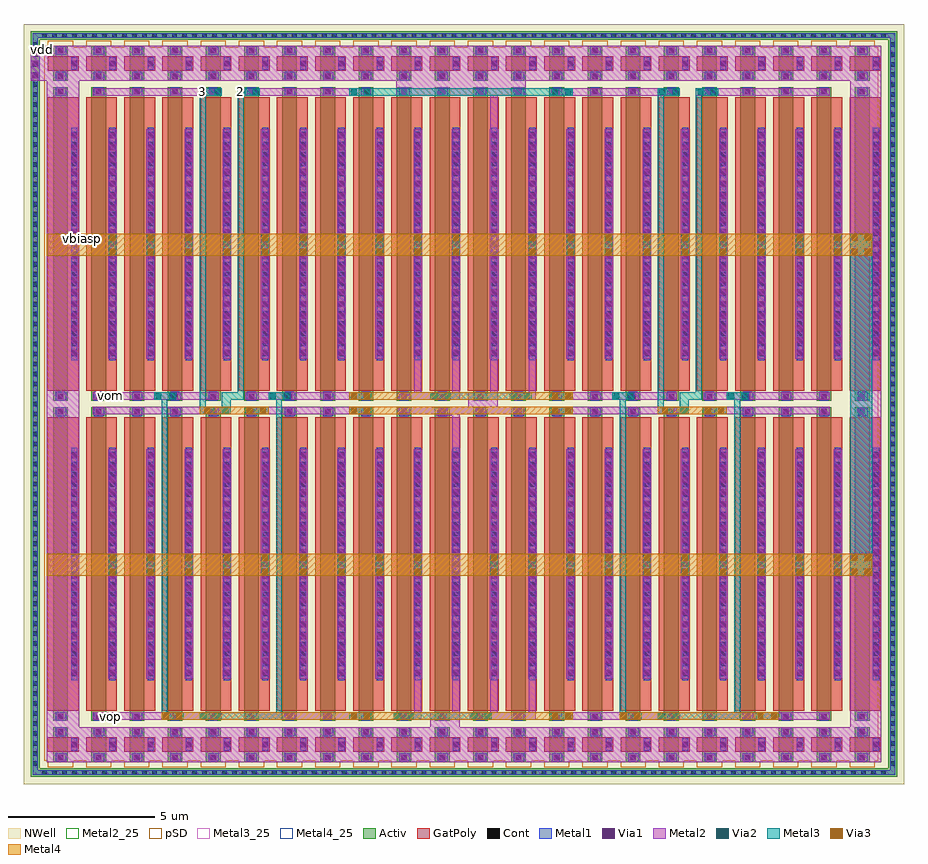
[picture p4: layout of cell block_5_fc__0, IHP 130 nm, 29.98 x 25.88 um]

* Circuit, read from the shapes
.subckt block_5_fc__0 2 3 vbiasp vdd vom vop
XM1 vdd vdd vdd vdd sg13_lv_pmos w=0.5u l=0.5u m=44
XM2 vdd vdd vdd vdd sg13_lv_pmos w=0.5u l=10u m=6
XM3 2 vbiasp vop vdd sg13_lv_pmos w=0.5u l=10u m=16
XM4 3 vbiasp vom vdd sg13_lv_pmos w=0.5u l=10u m=16
XM5 vdd vbiasp vbiasp vdd sg13_lv_pmos w=0.5u l=10u m=6
.ends

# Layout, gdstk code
from math import pi, radians
import gdstk
lib = gdstk.Library(unit=1e-6, precision=1e-09)
def R(c, l, rs):  # rectangles x0, y0, x1, y1
    for r in rs: c.add(gdstk.rectangle(r[:2], r[2:], *l))
def A(c, l, x, y, w, h, nx, ny, dx, dy):  # array of equal rectangles
    R(c, l, [(x+i*dx, y+j*dy, x+i*dx+w, y+j*dy+h) for i in range(nx) for j in range(ny)])
Activ = (1, 0)
GatPoly = (5, 0)
Cont = (6, 0)
Metal1 = (8, 0)
Metal2 = (10, 0)
Metal2_25 = (10, 25)
pSD = (14, 0)
Via1 = (19, 0)
Via2 = (29, 0)
Metal3 = (30, 0)
Metal3_25 = (30, 25)
NWell = (31, 0)
Via3 = (49, 0)
Metal4 = (50, 0)
Metal4_25 = (50, 25)

sg13_lv_pmos_7da2r2__0 = lib.new_cell('sg13_lv_pmos_7DA2R2__0')
R(sg13_lv_pmos_7da2r2__0, Activ, [(-0.59,-0.345,0.59,0.155)])
R(sg13_lv_pmos_7da2r2__0, GatPoly, [(-0.25,-0.525,0.25,0.525)])
R(sg13_lv_pmos_7da2r2__0, Cont, [(-0.52,-0.175,-0.36,-0.015), (0.36,-0.175,0.52,-0.015), (-0.08,0.295,0.08,0.455)])
R(sg13_lv_pmos_7da2r2__0, Metal1, [(-0.59,-0.24,-0.29,0.05), (0.29,-0.24,0.59,0.05), (-0.215,0.27,0.215,0.48)])
R(sg13_lv_pmos_7da2r2__0, Metal2, [(-0.54,-0.28,-0.34,0.09), (0.34,-0.28,0.54,0.09), (-0.11,0.23,0.11,0.52)])
R(sg13_lv_pmos_7da2r2__0, pSD, [(-0.55,-0.645,0.55,-0.525), (-0.77,-0.525,0.77,0.335), (-0.55,0.335,0.55,0.455)])
R(sg13_lv_pmos_7da2r2__0, Via1, [(-0.535,-0.19,-0.345,0), (0.345,-0.19,0.535,0), (-0.095,0.28,0.095,0.47)])
R(sg13_lv_pmos_7da2r2__0, NWell, [(-0.9,-0.655,0.9,0.465)])
sg13_lv_pmos_7da2r2__0.add(gdstk.Label('D', (-0.44,-0.095), layer=8, texttype=25))
sg13_lv_pmos_7da2r2__0.add(gdstk.Label('S', (0.44,-0.095), layer=8, texttype=25))
sg13_lv_pmos_7da2r2__0.add(gdstk.Label('G', (0,0.375), layer=8, texttype=25))

sg13_lv_pmos_sthyk8__0 = lib.new_cell('sg13_lv_pmos_STHYK8__0')
R(sg13_lv_pmos_sthyk8__0, Activ, [(-5.34,-0.345,5.34,0.155)])
R(sg13_lv_pmos_sthyk8__0, GatPoly, [(-5,-0.525,5,0.525)])
A(sg13_lv_pmos_sthyk8__0, Cont, -3.82, 0.295, 0.16, 0.16, 23, 1, 0.34, 0)
R(sg13_lv_pmos_sthyk8__0, Cont, [(-5.27,-0.175,-5.11,-0.015), (5.11,-0.175,5.27,-0.015)])
R(sg13_lv_pmos_sthyk8__0, Metal1, [(-5.34,-0.24,-5.04,0.05), (5.04,-0.24,5.34,0.05), (-3.96,0.27,3.96,0.48)])
R(sg13_lv_pmos_sthyk8__0, Metal2, [(-5.29,-0.28,-5.09,0.09), (5.09,-0.28,5.29,0.09), (-3.91,0.23,3.91,0.52)])
R(sg13_lv_pmos_sthyk8__0, pSD, [(-5.3,-0.645,5.3,-0.525), (-5.52,-0.525,5.52,0.335), (-5.3,0.335,5.3,0.455)])
A(sg13_lv_pmos_sthyk8__0, Via1, -3.785, 0.28, 0.19, 0.19, 19, 1, 0.41, 0)
R(sg13_lv_pmos_sthyk8__0, Via1, [(-5.285,-0.19,-5.095,0), (5.095,-0.19,5.285,0)])
R(sg13_lv_pmos_sthyk8__0, NWell, [(-5.65,-0.655,5.65,0.465)])
sg13_lv_pmos_sthyk8__0.add(gdstk.Label('D', (-5.19,-0.095), layer=8, texttype=25))
sg13_lv_pmos_sthyk8__0.add(gdstk.Label('S', (5.19,-0.095), layer=8, texttype=25))
sg13_lv_pmos_sthyk8__0.add(gdstk.Label('G', (0,0.375), layer=8, texttype=25))

block_5_fc__0 = lib.new_cell('block_5_fc__0')
R(block_5_fc__0, Activ, [(-0.7,-1.3,28.8,-1), (-0.7,-1,-0.4,23.8), (28.5,-1,28.8,23.8), (-0.7,23.8,28.8,24.1)])
A(block_5_fc__0, Cont, -0.31, -1.23, 0.16, 0.16, 85, 2, 0.34, 25.1)
A(block_5_fc__0, Cont, -0.63, -0.92, 0.16, 0.16, 1, 73, 0, 0.34)
A(block_5_fc__0, Cont, 28.57, -0.92, 0.16, 0.16, 1, 73, 0, 0.34)
A(block_5_fc__0, Metal1, 0.15, -0.75, 0.35, 0.25, 22, 2, 1.3, 0.85)
A(block_5_fc__0, Metal1, 0.15, 0.65, 0.35, 0.25, 7, 1, 1.3, 0)
A(block_5_fc__0, Metal1, 14.45, 0.65, 0.35, 0.25, 11, 1, 1.3, 0)
A(block_5_fc__0, Metal1, 0.15, 11, 0.35, 0.25, 22, 2, 1.3, 10.9)
A(block_5_fc__0, Metal1, 0.15, 11.55, 0.35, 0.25, 11, 1, 1.3, 0)
A(block_5_fc__0, Metal1, 15.75, 11.55, 0.35, 0.25, 10, 1, 1.3, 0)
A(block_5_fc__0, Metal1, 0.15, 22.45, 0.35, 0.25, 22, 2, 1.3, 0.85)
R(block_5_fc__0, Metal1, [(-0.63,-1.23,28.73,-1.07), (-0.63,-1.07,-0.47,22.4), (28.57,-1.07,28.73,23.87), (9.25,0.65,9.55,0.9), (10.55,0.65,10.9,0.9), (11.85,0.65,12.2,0.9), (13.15,0.65,13.45,0.9), (14.4,11.55,14.8,11.8), (-0.7,22.4,-0.4,23.6), (-0.63,23.6,-0.47,23.87), (-0.63,23.87,28.73,24.03)])
A(block_5_fc__0, Metal2, 12.35, 0.9, 0.25, 1.2, 4, 2, 1.3, 10.9)
A(block_5_fc__0, Metal2, 1.95, 5.55, 0.25, 0.75, 9, 1, 1.3, 0)
A(block_5_fc__0, Metal2, 14.95, 5.55, 0.25, 0.75, 10, 1, 1.3, 0)
A(block_5_fc__0, Metal2, 1.95, 16.45, 0.25, 0.75, 10, 1, 1.3, 0)
A(block_5_fc__0, Metal2, 16.25, 16.45, 0.25, 0.75, 9, 1, 1.3, 0)
R(block_5_fc__0, Metal2, [(-0.15,-0.8,28.25,0.4), (-0.15,0.4,0.95,22.4), (12.9,0.4,13.9,0.9), (27.2,0.4,28.25,22.4), (1.4,0.65,5.8,0.9), (6.6,0.65,10.9,0.9), (11.65,0.65,12.6,0.9), (14.25,0.65,16.5,0.9), (17,0.65,21.4,0.9), (22.2,0.65,26.5,0.9), (13.65,9.85,13.9,11), (13.1,11,13.9,11.05), (1.4,11.05,6.1,11.3), (6.6,11.05,10.9,11.3), (11.8,11.05,16.1,11.3), (17,11.05,21.7,11.3), (22.2,11.05,26.5,11.3), (14.2,11.3,15.2,11.8), (1.4,11.55,5.7,11.8), (6.6,11.55,10.9,11.8), (11.8,11.55,13.9,11.8), (15.6,11.55,16.5,11.8), (17,11.55,21.3,11.8), (22.2,11.55,26.5,11.8), (14.95,20.7,15.2,21.9), (1.4,21.9,5.8,22.15), (6.35,21.9,10.9,22.15), (11.75,21.9,16.15,22.4), (17,21.9,21.4,22.15), (21.95,21.9,26.5,22.15), (-0.7,22.4,28.25,23.6)])
R(block_5_fc__0, Metal2_25, [(1.9,0.65,2.15,0.9), (1.9,11.55,2.15,11.8), (-0.4,23.35,-0.2,23.6)])
A(block_5_fc__0, pSD, 0.86, -0.75, 0.2, 1.1, 21, 2, 1.3, 23.2)
A(block_5_fc__0, pSD, -0.24, 0.35, 0.12, 0.3, 1, 3, 0, 10.9)
A(block_5_fc__0, pSD, 0.74, 0.35, 0.44, 0.3, 21, 3, 1.3, 10.9)
A(block_5_fc__0, pSD, 28.04, 0.35, 0.12, 0.3, 1, 3, 0, 10.9)
A(block_5_fc__0, pSD, 0.86, 0.65, 0.2, 10.6, 21, 2, 1.3, 10.9)
A(block_5_fc__0, Via1, -0.645, 22.495, 0.19, 0.19, 1, 3, 0, 0.41)
A(block_5_fc__0, Via2, 1.98, 5.605, 0.19, 0.19, 9, 2, 1.3, 0.45)
A(block_5_fc__0, Via2, 14.98, 5.605, 0.19, 0.19, 10, 2, 1.3, 0.45)
A(block_5_fc__0, Via2, 1.98, 16.505, 0.19, 0.19, 10, 2, 1.3, 0.45)
A(block_5_fc__0, Via2, 16.28, 16.505, 0.19, 0.19, 9, 2, 1.3, 0.45)
R(block_5_fc__0, Via2, [(5.105,0.68,5.295,0.87), (5.555,0.68,5.745,0.87), (10.205,0.68,10.395,0.87), (10.655,0.68,10.845,0.87), (11.705,0.68,11.895,0.87), (12.155,0.68,12.345,0.87), (14.305,0.68,14.495,0.87), (14.755,0.68,14.945,0.87), (17.055,0.68,17.245,0.87), (17.505,0.68,17.695,0.87), (20.705,0.68,20.895,0.87), (21.155,0.68,21.345,0.87), (24.055,0.68,24.245,0.87), (24.505,0.68,24.695,0.87), (5.855,11.08,6.045,11.27), (6.655,11.08,6.845,11.27), (7.105,11.08,7.295,11.27), (10.205,11.08,10.395,11.27), (10.655,11.08,10.845,11.27), (17.055,11.08,17.245,11.27), (17.505,11.08,17.695,11.27), (21.455,11.08,21.645,11.27), (22.255,11.08,22.445,11.27), (22.705,11.08,22.895,11.27), (3.555,11.58,3.745,11.77), (4.005,11.58,4.195,11.77), (7.455,11.58,7.645,11.77), (7.905,11.58,8.095,11.77), (10.205,11.58,10.395,11.77), (10.655,11.58,10.845,11.77), (12.955,11.58,13.145,11.77), (13.405,11.58,13.595,11.77), (15.655,11.58,15.845,11.77), (16.105,11.58,16.295,11.77), (17.055,11.58,17.245,11.77), (17.505,11.58,17.695,11.77), (19.155,11.58,19.345,11.77), (19.605,11.58,19.795,11.77), (23.055,11.58,23.245,11.77), (23.505,11.58,23.695,11.77), (5.105,21.93,5.295,22.12), (5.555,21.93,5.745,22.12), (6.405,21.93,6.595,22.12), (6.855,21.93,7.045,22.12), (10.205,21.93,10.395,22.12), (10.655,21.93,10.845,22.12), (17.055,21.93,17.245,22.12), (17.505,21.93,17.695,22.12), (20.705,21.93,20.895,22.12), (21.155,21.93,21.345,22.12), (22.005,21.93,22.195,22.12), (22.455,21.93,22.645,22.12)])
A(block_5_fc__0, Metal3, 1.95, 5.55, 0.25, 0.75, 9, 1, 1.3, 0)
A(block_5_fc__0, Metal3, 14.95, 5.55, 0.25, 0.75, 10, 1, 1.3, 0)
A(block_5_fc__0, Metal3, 1.95, 16.45, 0.25, 0.75, 10, 1, 1.3, 0)
A(block_5_fc__0, Metal3, 16.25, 16.45, 0.25, 0.75, 9, 1, 1.3, 0)
R(block_5_fc__0, Metal3, [(3.75,0.65,4.5,0.9), (5.05,0.65,7.85,0.9), (10.15,0.65,10.9,0.9), (11.65,0.65,15,0.9), (17,0.65,17.75,0.9), (19.35,0.65,20.1,0.9), (20.65,0.65,23.45,0.9), (24,0.65,24.75,0.9), (3.75,0.9,3.95,11.55), (7.65,0.9,7.85,11.55), (19.35,0.9,19.55,11.55), (23.25,0.9,23.45,11.55), (27.2,5.55,27.95,17.2), (5.05,11.05,5.55,11.3), (5.8,11.05,6.1,11.55), (6.6,11.05,7.4,11.3), (10.15,11.05,10.9,11.3), (17,11.05,17.75,11.3), (20.65,11.05,21.15,11.3), (21.4,11.05,21.7,11.55), (22.2,11.05,23,11.3), (5.05,11.3,5.25,21.9), (20.65,11.3,20.85,21.9), (3.5,11.55,4.25,11.8), (5.8,11.55,6.55,11.8), (7.4,11.55,8.15,11.8), (10.15,11.55,10.9,11.8), (12.9,11.55,16.35,11.8), (17,11.55,17.75,11.8), (19.1,11.55,19.85,11.8), (21.4,11.55,22.15,11.8), (23,11.55,23.75,11.8), (6.35,11.8,6.55,21.9), (21.95,11.8,22.15,21.9), (5.05,21.9,5.8,22.15), (6.35,21.9,7.1,22.15), (10.15,21.9,17.75,22.15), (20.65,21.9,21.4,22.15), (21.95,21.9,22.7,22.15)])
R(block_5_fc__0, Metal3_25, [(5.05,21.9,5.25,22.15), (6.35,21.9,6.55,22.15)])
R(block_5_fc__0, NWell, [(-0.94,-1.54,29.04,24.34)])
A(block_5_fc__0, Via3, 1.98, 5.605, 0.19, 0.19, 9, 2, 1.3, 0.45)
A(block_5_fc__0, Via3, 14.98, 5.605, 0.19, 0.19, 10, 2, 1.3, 0.45)
A(block_5_fc__0, Via3, 1.98, 16.505, 0.19, 0.19, 10, 2, 1.3, 0.45)
A(block_5_fc__0, Via3, 16.28, 16.505, 0.19, 0.19, 9, 2, 1.3, 0.45)
R(block_5_fc__0, Via3, [(3.805,0.68,3.995,0.87), (4.255,0.68,4.445,0.87), (10.205,0.68,10.395,0.87), (10.655,0.68,10.845,0.87), (17.055,0.68,17.245,0.87), (17.505,0.68,17.695,0.87), (19.405,0.68,19.595,0.87), (19.855,0.68,20.045,0.87), (24.055,0.68,24.245,0.87), (24.505,0.68,24.695,0.87), (27.255,5.605,27.445,5.795), (27.705,5.605,27.895,5.795), (27.255,6.055,27.445,6.245), (27.705,6.055,27.895,6.245), (5.205,11.08,5.395,11.27), (6.655,11.08,6.845,11.27), (7.105,11.08,7.295,11.27), (10.205,11.08,10.395,11.27), (10.655,11.08,10.845,11.27), (17.055,11.08,17.245,11.27), (17.505,11.08,17.695,11.27), (20.805,11.08,20.995,11.27), (22.255,11.08,22.445,11.27), (22.705,11.08,22.895,11.27), (10.205,11.58,10.395,11.77), (10.655,11.58,10.845,11.77), (17.055,11.58,17.245,11.77), (17.505,11.58,17.695,11.77), (27.255,16.505,27.445,16.695), (27.705,16.505,27.895,16.695), (27.255,16.955,27.445,17.145), (27.705,16.955,27.895,17.145)])
R(block_5_fc__0, Metal4, [(3.75,0.65,17.75,0.9), (19.35,0.65,24.75,0.9), (-0.15,5.55,27.95,6.3), (5.05,11.05,7.4,11.3), (10.15,11.05,17.75,11.3), (20.65,11.05,23,11.3), (10.15,11.55,17.75,11.8), (-0.15,16.45,27.95,17.2)])
R(block_5_fc__0, Metal4_25, [(0.95,16.9,1.15,17.2)])
block_5_fc__0.add(gdstk.Reference(sg13_lv_pmos_7da2r2__0, (0.405,-0.2), rotation=3*pi/2))
block_5_fc__0.add(gdstk.Reference(sg13_lv_pmos_sthyk8__0, (0.405,5.95), rotation=3*pi/2))
block_5_fc__0.add(gdstk.Reference(sg13_lv_pmos_7da2r2__0, (1.705,-0.2), rotation=3*pi/2))
block_5_fc__0.add(gdstk.Reference(sg13_lv_pmos_sthyk8__0, (1.705,5.95), rotation=3*pi/2))
block_5_fc__0.add(gdstk.Reference(sg13_lv_pmos_7da2r2__0, (3.005,-0.2), rotation=3*pi/2))
block_5_fc__0.add(gdstk.Reference(sg13_lv_pmos_sthyk8__0, (3.005,5.95), rotation=3*pi/2))
block_5_fc__0.add(gdstk.Reference(sg13_lv_pmos_7da2r2__0, (4.305,-0.2), rotation=3*pi/2))
block_5_fc__0.add(gdstk.Reference(sg13_lv_pmos_sthyk8__0, (4.305,5.95), rotation=3*pi/2))
block_5_fc__0.add(gdstk.Reference(sg13_lv_pmos_7da2r2__0, (5.605,-0.2), rotation=3*pi/2))
block_5_fc__0.add(gdstk.Reference(sg13_lv_pmos_sthyk8__0, (5.605,5.95), rotation=3*pi/2))
block_5_fc__0.add(gdstk.Reference(sg13_lv_pmos_7da2r2__0, (6.905,-0.2), rotation=3*pi/2))
block_5_fc__0.add(gdstk.Reference(sg13_lv_pmos_sthyk8__0, (6.905,5.95), rotation=3*pi/2))
block_5_fc__0.add(gdstk.Reference(sg13_lv_pmos_7da2r2__0, (8.205,-0.2), rotation=3*pi/2))
block_5_fc__0.add(gdstk.Reference(sg13_lv_pmos_sthyk8__0, (8.205,5.95), rotation=3*pi/2))
block_5_fc__0.add(gdstk.Reference(sg13_lv_pmos_7da2r2__0, (9.505,-0.2), rotation=3*pi/2))
block_5_fc__0.add(gdstk.Reference(sg13_lv_pmos_sthyk8__0, (9.505,5.95), rotation=3*pi/2))
block_5_fc__0.add(gdstk.Reference(sg13_lv_pmos_7da2r2__0, (10.805,-0.2), rotation=3*pi/2))
block_5_fc__0.add(gdstk.Reference(sg13_lv_pmos_sthyk8__0, (10.805,5.95), rotation=3*pi/2))
block_5_fc__0.add(gdstk.Reference(sg13_lv_pmos_7da2r2__0, (12.105,-0.2), rotation=3*pi/2))
block_5_fc__0.add(gdstk.Reference(sg13_lv_pmos_sthyk8__0, (12.105,5.95), rotation=3*pi/2))
block_5_fc__0.add(gdstk.Reference(sg13_lv_pmos_7da2r2__0, (13.405,-0.2), rotation=3*pi/2))
block_5_fc__0.add(gdstk.Reference(sg13_lv_pmos_sthyk8__0, (13.405,5.95), rotation=3*pi/2))
block_5_fc__0.add(gdstk.Reference(sg13_lv_pmos_7da2r2__0, (14.705,-0.2), rotation=3*pi/2))
block_5_fc__0.add(gdstk.Reference(sg13_lv_pmos_sthyk8__0, (14.705,5.95), rotation=3*pi/2))
block_5_fc__0.add(gdstk.Reference(sg13_lv_pmos_7da2r2__0, (16.005,-0.2), rotation=3*pi/2))
block_5_fc__0.add(gdstk.Reference(sg13_lv_pmos_sthyk8__0, (16.005,5.95), rotation=3*pi/2))
block_5_fc__0.add(gdstk.Reference(sg13_lv_pmos_7da2r2__0, (17.305,-0.2), rotation=3*pi/2))
block_5_fc__0.add(gdstk.Reference(sg13_lv_pmos_sthyk8__0, (17.305,5.95), rotation=3*pi/2))
block_5_fc__0.add(gdstk.Reference(sg13_lv_pmos_7da2r2__0, (18.605,-0.2), rotation=3*pi/2))
block_5_fc__0.add(gdstk.Reference(sg13_lv_pmos_sthyk8__0, (18.605,5.95), rotation=3*pi/2))
block_5_fc__0.add(gdstk.Reference(sg13_lv_pmos_7da2r2__0, (19.905,-0.2), rotation=3*pi/2))
block_5_fc__0.add(gdstk.Reference(sg13_lv_pmos_sthyk8__0, (19.905,5.95), rotation=3*pi/2))
block_5_fc__0.add(gdstk.Reference(sg13_lv_pmos_7da2r2__0, (21.205,-0.2), rotation=3*pi/2))
block_5_fc__0.add(gdstk.Reference(sg13_lv_pmos_sthyk8__0, (21.205,5.95), rotation=3*pi/2))
block_5_fc__0.add(gdstk.Reference(sg13_lv_pmos_7da2r2__0, (22.505,-0.2), rotation=3*pi/2))
block_5_fc__0.add(gdstk.Reference(sg13_lv_pmos_sthyk8__0, (22.505,5.95), rotation=3*pi/2))
block_5_fc__0.add(gdstk.Reference(sg13_lv_pmos_7da2r2__0, (23.805,-0.2), rotation=3*pi/2))
block_5_fc__0.add(gdstk.Reference(sg13_lv_pmos_sthyk8__0, (23.805,5.95), rotation=3*pi/2))
block_5_fc__0.add(gdstk.Reference(sg13_lv_pmos_7da2r2__0, (25.105,-0.2), rotation=3*pi/2))
block_5_fc__0.add(gdstk.Reference(sg13_lv_pmos_sthyk8__0, (25.105,5.95), rotation=3*pi/2))
block_5_fc__0.add(gdstk.Reference(sg13_lv_pmos_7da2r2__0, (26.405,-0.2), rotation=3*pi/2))
block_5_fc__0.add(gdstk.Reference(sg13_lv_pmos_sthyk8__0, (26.405,5.95), rotation=3*pi/2))
block_5_fc__0.add(gdstk.Reference(sg13_lv_pmos_7da2r2__0, (27.705,-0.2), rotation=3*pi/2))
block_5_fc__0.add(gdstk.Reference(sg13_lv_pmos_sthyk8__0, (27.705,5.95), rotation=3*pi/2))
block_5_fc__0.add(gdstk.Reference(sg13_lv_pmos_sthyk8__0, (0.405,16.85), rotation=3*pi/2))
block_5_fc__0.add(gdstk.Reference(sg13_lv_pmos_sthyk8__0, (1.705,16.85), rotation=3*pi/2))
block_5_fc__0.add(gdstk.Reference(sg13_lv_pmos_sthyk8__0, (3.005,16.85), rotation=3*pi/2))
block_5_fc__0.add(gdstk.Reference(sg13_lv_pmos_sthyk8__0, (4.305,16.85), rotation=3*pi/2))
block_5_fc__0.add(gdstk.Reference(sg13_lv_pmos_sthyk8__0, (5.605,16.85), rotation=3*pi/2))
block_5_fc__0.add(gdstk.Reference(sg13_lv_pmos_sthyk8__0, (6.905,16.85), rotation=3*pi/2))
block_5_fc__0.add(gdstk.Reference(sg13_lv_pmos_sthyk8__0, (8.205,16.85), rotation=3*pi/2))
block_5_fc__0.add(gdstk.Reference(sg13_lv_pmos_sthyk8__0, (9.505,16.85), rotation=3*pi/2))
block_5_fc__0.add(gdstk.Reference(sg13_lv_pmos_sthyk8__0, (10.805,16.85), rotation=3*pi/2))
block_5_fc__0.add(gdstk.Reference(sg13_lv_pmos_sthyk8__0, (12.105,16.85), rotation=3*pi/2))
block_5_fc__0.add(gdstk.Reference(sg13_lv_pmos_sthyk8__0, (13.405,16.85), rotation=3*pi/2))
block_5_fc__0.add(gdstk.Reference(sg13_lv_pmos_sthyk8__0, (14.705,16.85), rotation=3*pi/2))
block_5_fc__0.add(gdstk.Reference(sg13_lv_pmos_sthyk8__0, (16.005,16.85), rotation=3*pi/2))
block_5_fc__0.add(gdstk.Reference(sg13_lv_pmos_sthyk8__0, (17.305,16.85), rotation=3*pi/2))
block_5_fc__0.add(gdstk.Reference(sg13_lv_pmos_sthyk8__0, (18.605,16.85), rotation=3*pi/2))
block_5_fc__0.add(gdstk.Reference(sg13_lv_pmos_sthyk8__0, (19.905,16.85), rotation=3*pi/2))
block_5_fc__0.add(gdstk.Reference(sg13_lv_pmos_sthyk8__0, (21.205,16.85), rotation=3*pi/2))
block_5_fc__0.add(gdstk.Reference(sg13_lv_pmos_sthyk8__0, (22.505,16.85), rotation=3*pi/2))
block_5_fc__0.add(gdstk.Reference(sg13_lv_pmos_sthyk8__0, (23.805,16.85), rotation=3*pi/2))
block_5_fc__0.add(gdstk.Reference(sg13_lv_pmos_sthyk8__0, (25.105,16.85), rotation=3*pi/2))
block_5_fc__0.add(gdstk.Reference(sg13_lv_pmos_sthyk8__0, (26.405,16.85), rotation=3*pi/2))
block_5_fc__0.add(gdstk.Reference(sg13_lv_pmos_sthyk8__0, (27.705,16.85), rotation=3*pi/2))
block_5_fc__0.add(gdstk.Reference(sg13_lv_pmos_7da2r2__0, (0.405,23), rotation=3*pi/2))
block_5_fc__0.add(gdstk.Reference(sg13_lv_pmos_7da2r2__0, (1.705,23), rotation=3*pi/2))
block_5_fc__0.add(gdstk.Reference(sg13_lv_pmos_7da2r2__0, (3.005,23), rotation=3*pi/2))
block_5_fc__0.add(gdstk.Reference(sg13_lv_pmos_7da2r2__0, (4.305,23), rotation=3*pi/2))
block_5_fc__0.add(gdstk.Reference(sg13_lv_pmos_7da2r2__0, (5.605,23), rotation=3*pi/2))
block_5_fc__0.add(gdstk.Reference(sg13_lv_pmos_7da2r2__0, (6.905,23), rotation=3*pi/2))
block_5_fc__0.add(gdstk.Reference(sg13_lv_pmos_7da2r2__0, (8.205,23), rotation=3*pi/2))
block_5_fc__0.add(gdstk.Reference(sg13_lv_pmos_7da2r2__0, (9.505,23), rotation=3*pi/2))
block_5_fc__0.add(gdstk.Reference(sg13_lv_pmos_7da2r2__0, (10.805,23), rotation=3*pi/2))
block_5_fc__0.add(gdstk.Reference(sg13_lv_pmos_7da2r2__0, (12.105,23), rotation=3*pi/2))
block_5_fc__0.add(gdstk.Reference(sg13_lv_pmos_7da2r2__0, (13.405,23), rotation=3*pi/2))
block_5_fc__0.add(gdstk.Reference(sg13_lv_pmos_7da2r2__0, (14.705,23), rotation=3*pi/2))
block_5_fc__0.add(gdstk.Reference(sg13_lv_pmos_7da2r2__0, (16.005,23), rotation=3*pi/2))
block_5_fc__0.add(gdstk.Reference(sg13_lv_pmos_7da2r2__0, (17.305,23), rotation=3*pi/2))
block_5_fc__0.add(gdstk.Reference(sg13_lv_pmos_7da2r2__0, (18.605,23), rotation=3*pi/2))
block_5_fc__0.add(gdstk.Reference(sg13_lv_pmos_7da2r2__0, (19.905,23), rotation=3*pi/2))
block_5_fc__0.add(gdstk.Reference(sg13_lv_pmos_7da2r2__0, (21.205,23), rotation=3*pi/2))
block_5_fc__0.add(gdstk.Reference(sg13_lv_pmos_7da2r2__0, (22.505,23), rotation=3*pi/2))
block_5_fc__0.add(gdstk.Reference(sg13_lv_pmos_7da2r2__0, (23.805,23), rotation=3*pi/2))
block_5_fc__0.add(gdstk.Reference(sg13_lv_pmos_7da2r2__0, (25.105,23), rotation=3*pi/2))
block_5_fc__0.add(gdstk.Reference(sg13_lv_pmos_7da2r2__0, (26.405,23), rotation=3*pi/2))
block_5_fc__0.add(gdstk.Reference(sg13_lv_pmos_7da2r2__0, (27.705,23), rotation=3*pi/2))
block_5_fc__0.add(gdstk.Label('3', (5.15,22.025), layer=30, texttype=25))
block_5_fc__0.add(gdstk.Label('2', (6.45,22.025), layer=30, texttype=25))
block_5_fc__0.add(gdstk.Label('vdd', (-0.3,23.475), layer=10, texttype=25))
block_5_fc__0.add(gdstk.Label('vbiasp', (1.05,17.05), layer=50, texttype=25))
block_5_fc__0.add(gdstk.Label('vom', (2.025,11.675), layer=10, texttype=25))
block_5_fc__0.add(gdstk.Label('vop', (2.025,0.775), layer=10, texttype=25))

lib.write_gds('block_5_fc__0.gds')
